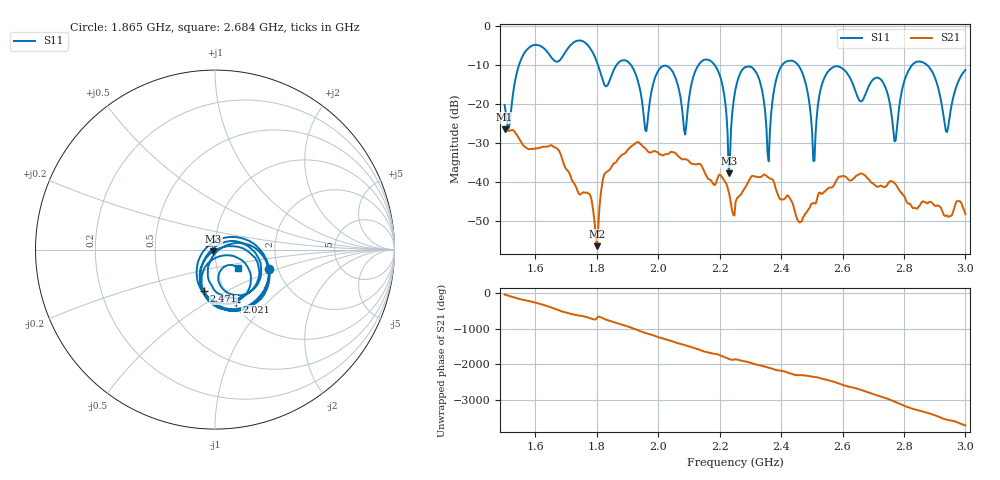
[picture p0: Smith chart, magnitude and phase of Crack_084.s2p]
# HZ S RI R 50
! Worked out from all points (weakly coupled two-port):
!   404 points, 1.5 GHz to 3 GHz, reference 50 ohm
!   highest |S21| = -26.43 dB at 1.5 GHz (marker M1); lowest = -56.4 dB at 1.801 GHz (marker M2)
!   lowest |S11| = -37.8 dB at 2.23 GHz (marker M3), VSWR 1.03, Z = 49.1 - j0.886 ohm
!   |S11| at or under -10 dB: 1.912 GHz to 2.131 GHz (218.4 MHz wide, 10.8 % of centre); 2.185 GHz to 2.403 GHz (218.2 MHz wide, 9.51 % of centre); 2.456 GHz to 2.826 GHz (369.4 MHz wide, 14 % of centre) (the widest 3 of 6)
!   S12 and S22 are empty: the file has one direction only
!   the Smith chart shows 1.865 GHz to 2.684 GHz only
!   S11 on the Smith chart (normalised r, x): 1.865 GHz: 1.80, -0.43; 2.021 GHz: 1.05, -0.68; 2.471 GHz: 0.80, -0.39; 2.684 GHz: 1.26, -0.27
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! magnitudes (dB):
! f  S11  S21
! 1.5 GHz  -20.2  -26.4
! 1.753 GHz  -3.7  -42.8
! 1.801 GHz  -9.3  -56.4
! 1.865 GHz  -9.9  -34.7
! 1.962 GHz  -26.9  -31.6
! 2.002 GHz  -11.1  -32.7
! 2.021 GHz  -10.0  -32.9
! 2.088 GHz  -27.8  -34.0
! 2.181 GHz  -9.6  -40.6
! 2.23 GHz  -37.8  -42.5
! 2.252 GHz  -16.0  -45.1
! 2.315 GHz  -11.4  -38.6
! 2.36 GHz  -34.6  -38.8
! 2.401 GHz  -10.3  -44.4
! 2.471 GHz  -12.4  -49.0
! 2.501 GHz  -27.5  -45.5
! 2.561 GHz  -10.9  -41.4
! 2.684 GHz  -15.7  -39.1
! 2.751 GHz  -18.5  -40.1
! 2.862 GHz  -9.2  -44.9
! 2.94 GHz  -27.1  -48.5
! 3 GHz  -11.2  -48.2
